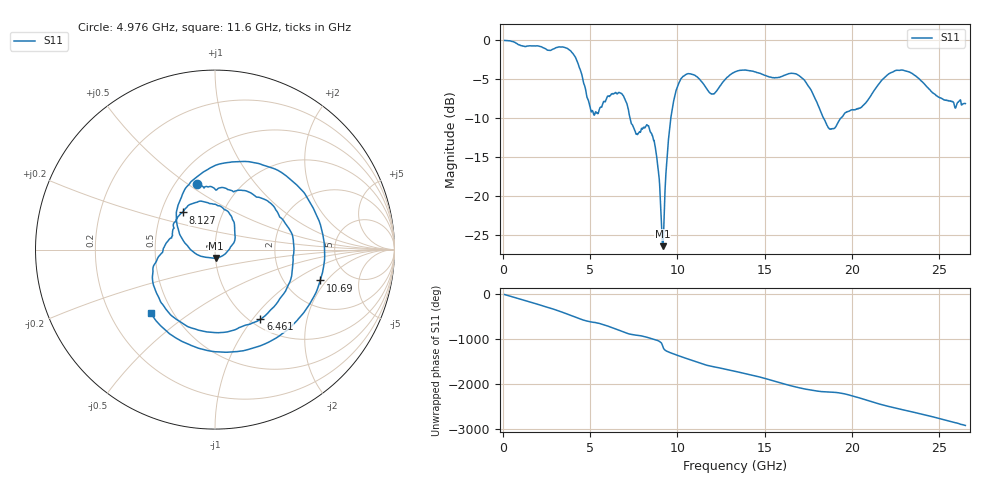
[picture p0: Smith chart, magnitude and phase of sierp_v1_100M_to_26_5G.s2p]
!Keysight Technologies,N5222B,MY60213399,A.14.00.23
!Date: Tuesday, February 27, 2024 20:34:42
!Correction: S11(C  1-Port  )
!S21(Off)
!S12(Off)
!S22(Off)
!S2P File: Measurement: :
# Hz S  dB  R 50
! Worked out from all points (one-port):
!   3201 points, 100 MHz to 26.5 GHz, reference 50 ohm
!   lowest |S11| = -26.4 dB at 9.159 GHz (marker M1), VSWR 1.10, Z = 50.5 - j4.78 ohm
!   |S11| at or under -10 dB: 7.289 GHz to 9.62 GHz (2.332 GHz wide, 27.6 % of centre); 18.38 GHz to 19.35 GHz (970.3 MHz wide, 5.14 % of centre)
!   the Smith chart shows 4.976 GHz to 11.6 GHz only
!   S11 on the Smith chart (normalised r, x): 4.976 GHz: 0.64, +0.55; 6.461 GHz: 1.11, -1.10; 8.127 GHz: 0.64, +0.29; 10.69 GHz: 3.12, -1.71; 11.6 GHz: 0.38, -0.36
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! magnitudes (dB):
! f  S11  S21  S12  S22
! 100 MHz  0.0  -  -  -
! 3.623 GHz  -1.0  -  -  -
! 4.505 GHz  -4.2  -  -  -
! 4.976 GHz  -8.4  -  -  -
! 6.461 GHz  -6.7  -  -  -
! 6.947 GHz  -7.3  -  -  -
! 7.632 GHz  -12.0  -  -  -
! 8.127 GHz  -11.2  -  -  -
! 8.606 GHz  -12.5  -  -  -
! 8.903 GHz  -16.7  -  -  -
! 9.159 GHz  -26.4  -  -  -
! 9.472 GHz  -13.1  -  -  -
! 9.736 GHz  -8.3  -  -  -
! 10.15 GHz  -5.2  -  -  -
! 10.69 GHz  -4.3  -  -  -
! 11.6 GHz  -6.0  -  -  -
! 13.3 GHz  -4.0  -  -  -
! 16.74 GHz  -4.3  -  -  -
! 17.71 GHz  -6.6  -  -  -
! 18.89 GHz  -11.3  -  -  -
! 22.1 GHz  -4.3  -  -  -
! 26.5 GHz  -8.1  -  -  -
